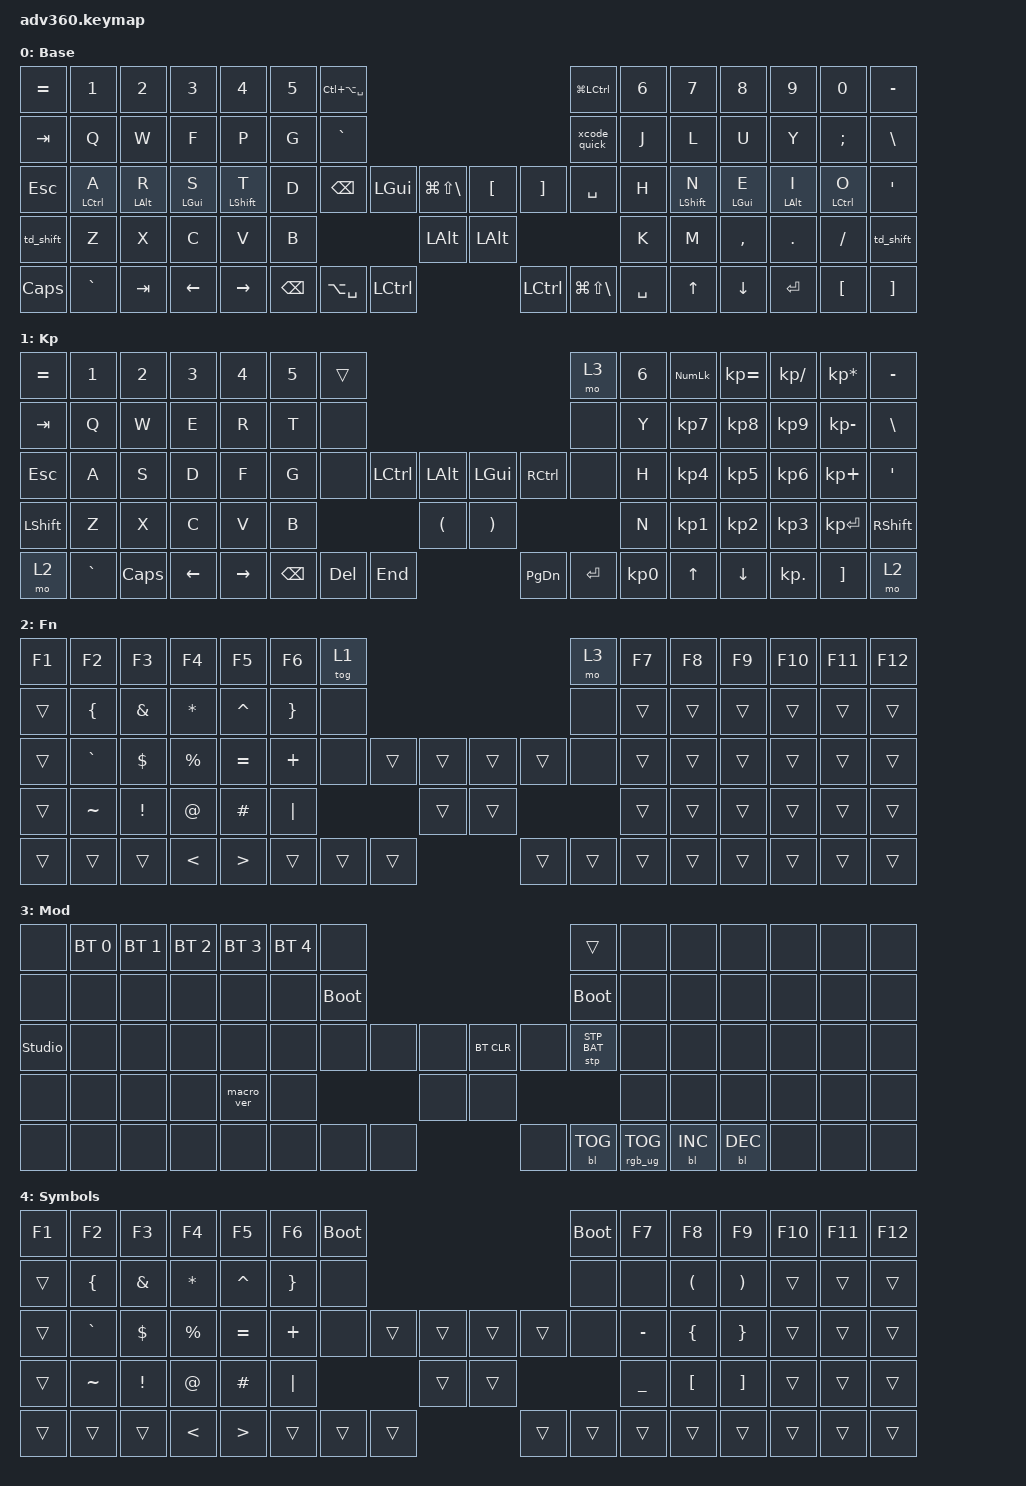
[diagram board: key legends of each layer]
#include <behaviors.dtsi>
#include <dt-bindings/zmk/keys.h>
#include <dt-bindings/zmk/bt.h>
#include <dt-bindings/zmk/rgb.h>
#include <dt-bindings/zmk/stp.h>
#include <dt-bindings/zmk/backlight.h>
#include <dt-bindings/zmk/pointing.h>
#include "adv360_matrix.h"

#define KEYS_L LT0 LT1 LT2 LT3 LT4 LM0 LM1 LM2 LM3 LM4 LB0 LB1 LB2 LB3 LB4
#define KEYS_R RT0 RT1 RT2 RT3 RT4 RM0 RM1 RM2 RM3 RM4 RB0 RB1 RB2 RB3 RB4

#define QUICK_TAP_MS 175

#define DSK_MGR   &kp LG(GRAVE)

&sk {
  release-after-ms = <900>;
  quick-release;
};

&sl { // Allow sticky mods to chord across sticky layers.
  ignore-modifiers;
};

&lt {
  flavor = "balanced";
  tapping-term-ms = <200>;
  quick-tap-ms = <QUICK_TAP_MS>;
};

&caps_word {
    continue-list = <UNDERSCORE MINUS>;
};

/ {
    behaviors {
      #include "macros.dtsi"
      #include "version.dtsi"

      hml: homerow_mods_left {
          compatible = "zmk,behavior-hold-tap";
          #binding-cells = <2>;
          bindings = <&kp>, <&kp>;
          flavor = "balanced";
          tapping-term-ms = <280>;
          quick-tap-ms = <175>;
          require-prior-idle-ms = <150>;
          hold-trigger-on-release;
          hold-trigger-key-positions = <KEYS_R>;
      };

      hmr: homerow_mods_right {
          compatible = "zmk,behavior-hold-tap";
          #binding-cells = <2>;
          bindings = <&kp>, <&kp>;
          flavor = "balanced";
          tapping-term-ms = <280>;
          quick-tap-ms = <175>;
          require-prior-idle-ms = <150>;
          hold-trigger-on-release;
          hold-trigger-key-positions = <KEYS_L>;
      };

      mtt: thumb_layer {
          compatible = "zmk,behavior-hold-tap";
          #binding-cells = <2>;
          flavor = "balanced";
          tapping-term-ms = <200>;
          quick-tap-ms = <300>;
          bindings = <&mo>, <&kp>;
      };

      td_shift: td_shift {
          compatible = "zmk,behavior-tap-dance";
          #binding-cells = <0>;
          tapping-term-ms = <200>;
          bindings = <&sk LSHIFT>, <&caps_word>;
      };

      xcode_quick: xcode_quick {
          compatible = "zmk,behavior-tap-dance";
          #binding-cells = <0>;
          tapping-term-ms = <200>;
          bindings = <&kp LG(LS(O))>, <&kp LG(LS(A))>;
      };
    };

  keymap {
    compatible = "zmk,keymap";

    default_layer {
      display-name = "Base";
      bindings = <
        &kp EQUAL &kp N1       &kp N2       &kp N3       &kp N4        &kp N5 &kp LC(LA(SPACE))                                                                   &kp LG(LCTRL) &kp N6 &kp N7        &kp N8       &kp N9       &kp N0       &kp MINUS
        &kp TAB   &kp Q        &kp W        &kp F        &kp P         &kp G  &kp GRAVE                                                                           &xcode_quick  &kp J  &kp L         &kp U        &kp Y        &kp SEMI     &kp BSLH
        &kp ESC   &hml LCTRL A &hml LALT R  &hml LGUI S  &hml LSHIFT T &kp D  &kp BSPC               &kp LGUI &kp LG(LS(BSLH))  &kp LBKT &kp RBKT                 &kp SPACE     &kp H  &hmr LSHIFT N &hmr LGUI E  &hmr LALT I  &hmr LCTRL O &kp SQT
        &td_shift &kp Z        &kp X        &kp C        &kp V         &kp B                                  &kp LALT          &kp LALT                                        &kp K  &kp M         &kp COMMA    &kp DOT      &kp FSLH     &td_shift
        &kp CAPS  &kp GRAVE    &kp TAB      &kp LEFT     &kp RIGHT                     &kp BSPC &kp LA(SPACE) &kp LCTRL         &kp LCTRL &kp LG(LS(BSLH)) &kp SPACE                   &kp UP        &kp DOWN     &kp ENTER    &kp LBKT     &kp RBKT
      >;
    };
    keypad {
      display-name = "Kp";
      bindings = <
        &kp EQUAL &kp N1    &kp N2   &kp N3   &kp N4     &kp N5 &trans                                                           &mo 3 &kp N6 &kp KP_NUM &kp KP_EQUAL &kp KP_DIVIDE &kp KP_MULTIPLY &kp MINUS
        &kp TAB   &kp Q     &kp W    &kp E    &kp R      &kp T  &none                                                            &none &kp Y  &kp KP_N7  &kp KP_N8    &kp KP_N9     &kp KP_MINUS    &kp BSLH
        &kp ESC   &kp A     &kp S    &kp D    &kp F      &kp G  &none           &kp LCTRL &kp LALT &kp LGUI  &kp RCTRL           &none &kp H  &kp KP_N4  &kp KP_N5    &kp KP_N6     &kp KP_PLUS     &kp SQT
        &kp LSHFT &kp Z     &kp X    &kp C    &kp V      &kp B                            &kp LPAR &kp RPAR                            &kp N  &kp KP_N1  &kp KP_N2    &kp KP_N3     &kp KP_ENTER    &kp RSHFT
        &mo 2     &kp GRAVE &kp CAPS &kp LEFT &kp RIGHT                &kp BSPC &kp DEL   &kp END  &kp PG_DN &kp ENTER &kp KP_N0              &kp UP     &kp DOWN     &kp KP_DOT    &kp RBKT        &mo 2
      >;
    };
    fn {
      display-name = "Fn";
      bindings = <
        &kp F1 &kp F2    &kp F3   &kp F4    &kp F5    &kp F6   &tog 1                                          &mo 3 &kp F7 &kp F8 &kp F9 &kp F10 &kp F11 &kp F12
        &trans &kp LBRC  &kp AMPS &kp STAR  &kp CARET &kp RBRC &none                                           &none &trans &trans &trans &trans  &trans  &trans
        &trans &kp GRAVE &kp DLLR &kp PRCNT &kp EQUAL &kp PLUS &none        &trans &trans &trans &trans        &none &trans &trans &trans &trans  &trans  &trans
        &trans &kp TILDE &kp EXCL &kp AT    &kp HASH  &kp PIPE                     &trans &trans                     &trans &trans &trans &trans  &trans  &trans
        &trans &trans    &trans   &kp LT    &kp GT                   &trans &trans &trans &trans &trans &trans              &trans &trans &trans  &trans  &trans
      >;
    };
    mod {
      display-name = "Mod";
      bindings = <
        &none &bt BT_SEL 0 &bt BT_SEL 1 &bt BT_SEL 2 &bt BT_SEL 3 &bt BT_SEL 4 &none                                                                     &trans                 &none        &none        &none        &none &none &none
        &none &none        &none        &none        &none        &none        &bootloader                                                               &bootloader            &none        &none        &none        &none &none &none
        &studio_unlock &none        &none        &none        &none        &none        &none                   &none &none &bt BT_CLR &none                      &stp STP_BAT &none        &none        &none        &none &none &none
        &none &none        &none        &none        &macro_ver   &none                                      &none &none                                                        &none        &none        &none        &none &none &none
        &none &none        &none        &none        &none                                       &none &none &none &none      &bl BL_TOG &rgb_ug RGB_TOG                                     &bl BL_INC   &bl BL_DEC   &none &none &none
      >;
    };
    symbols {
      display-name = "Symbols";
      bindings = <
        &kp F1 &kp F2    &kp F3   &kp F4    &kp F5    &kp F6   &bootloader                                     &bootloader &kp F7    &kp F8   &kp F9   &kp F10 &kp F11 &kp F12
        &trans &kp LBRC  &kp AMPS &kp STAR  &kp CARET &kp RBRC &none                                           &none       &none     &kp LPAR &kp RPAR &trans  &trans  &trans
        &trans &kp GRAVE &kp DLLR &kp PRCNT &kp EQUAL &kp PLUS &none        &trans &trans &trans &trans        &none       &kp MINUS &kp LBRC &kp RBRC &trans  &trans  &trans
        &trans &kp TILDE &kp EXCL &kp AT    &kp HASH  &kp PIPE                     &trans &trans                           &kp UNDER &kp LBKT &kp RBKT &trans  &trans  &trans
        &trans &trans    &trans   &kp LT    &kp GT                   &trans &trans &trans &trans &trans &trans                       &trans   &trans   &trans  &trans  &trans
      >;
    };
    extra1 {
      display-name = "Red";
      status = "reserved";
    };

    extra2 {
      display-name = "Purple";
      status = "reserved";
    };

    extra3 {
      display-name = "Cyan";
      status = "reserved";
    };

    extra4 {
      display-name = "Yellow";
      status = "reserved";
    };
  };
};
